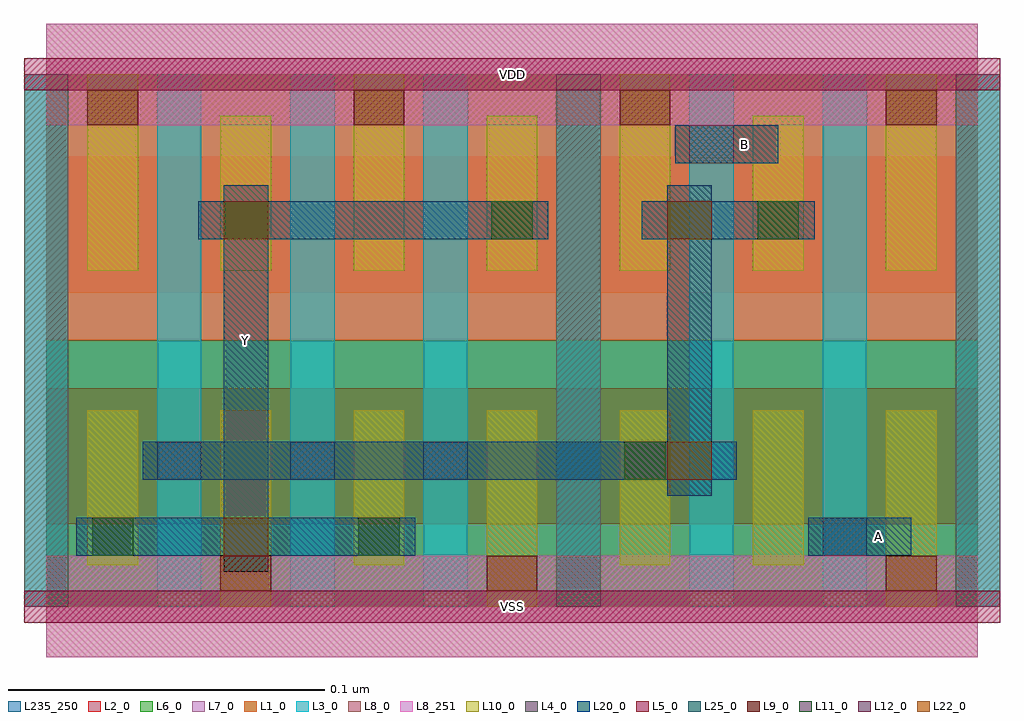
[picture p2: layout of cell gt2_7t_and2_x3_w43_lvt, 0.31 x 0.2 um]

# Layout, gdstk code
import gdstk
lib = gdstk.Library(unit=1e-6, precision=5e-10)
def R(c, l, rs):  # rectangles x0, y0, x1, y1
    for r in rs: c.add(gdstk.rectangle(r[:2], r[2:], *l))
def A(c, l, x, y, w, h, nx, ny, dx, dy):  # array of equal rectangles
    R(c, l, [(x+i*dx, y+j*dy, x+i*dx+w, y+j*dy+h) for i in range(nx) for j in range(ny)])
L1_0 = (1, 0)
L2_0 = (2, 0)
L3_0 = (3, 0)
L4_0 = (4, 0)
L5_0 = (5, 0)
L6_0 = (6, 0)
L7_0 = (7, 0)
L8_0 = (8, 0)
L8_251 = (8, 251)
L9_0 = (9, 0)
L10_0 = (10, 0)
L11_0 = (11, 0)
L12_0 = (12, 0)
L20_0 = (20, 0)
L22_0 = (22, 0)
L25_0 = (25, 0)
L235_250 = (235, 250)

gt2_7t_and2_x3_w43_lvt = lib.new_cell('gt2_7t_and2_x3_w43_lvt')
R(gt2_7t_and2_x3_w43_lvt, L1_0, [(0,0.084,0.294,0.168)])
R(gt2_7t_and2_x3_w43_lvt, L2_0, [(0,0.026,0.294,0.069), (0,0.099,0.294,0.142)])
A(gt2_7t_and2_x3_w43_lvt, L3_0, -0.007, 0, 0.014, 0.168, 8, 1, 0.042, 0)
R(gt2_7t_and2_x3_w43_lvt, L4_0, [(-0.007,0,0.007,0.168), (0.161,0,0.175,0.168), (0.287,0,0.301,0.168)])
R(gt2_7t_and2_x3_w43_lvt, L5_0, [(-0.007,-0.005,0.301,0.005), (-0.007,0.163,0.301,0.173)])
R(gt2_7t_and2_x3_w43_lvt, L6_0, [(0,0,0.294,0.084)])
R(gt2_7t_and2_x3_w43_lvt, L7_0, [(0,0.084,0.294,0.168)])
R(gt2_7t_and2_x3_w43_lvt, L8_0, [(0,-0.016,0.294,0.016), (0,0.152,0.294,0.184)])
R(gt2_7t_and2_x3_w43_lvt, L8_251, [(0,-0.016,0.294,0.016), (0,0.152,0.294,0.184)])
A(gt2_7t_and2_x3_w43_lvt, L9_0, 0.013, 0.152, 0.016, 0.011, 4, 1, 0.084, 0)
R(gt2_7t_and2_x3_w43_lvt, L9_0, [(0.055,0.005,0.071,0.016), (0.139,0.005,0.155,0.016), (0.265,0.005,0.281,0.016)])
A(gt2_7t_and2_x3_w43_lvt, L10_0, 0.013, 0.013, 0.016, 0.049, 3, 1, 0.084, 0)
A(gt2_7t_and2_x3_w43_lvt, L10_0, 0.013, 0.106, 0.016, 0.062, 4, 1, 0.084, 0)
A(gt2_7t_and2_x3_w43_lvt, L10_0, 0.055, 0.106, 0.016, 0.049, 3, 1, 0.084, 0)
R(gt2_7t_and2_x3_w43_lvt, L10_0, [(0.055,0,0.071,0.062), (0.139,0,0.155,0.062), (0.265,0,0.281,0.062), (0.223,0.013,0.239,0.062)])
A(gt2_7t_and2_x3_w43_lvt, L11_0, 0.0565, 0.116, 0.013, 0.012, 3, 1, 0.084, 0)
R(gt2_7t_and2_x3_w43_lvt, L11_0, [(0.0145,0.016,0.0275,0.028), (0.0985,0.016,0.1115,0.028), (0.1825,0.04,0.1955,0.052)])
A(gt2_7t_and2_x3_w43_lvt, L12_0, 0.035, 0.04, 0.014, 0.012, 3, 1, 0.042, 0)
R(gt2_7t_and2_x3_w43_lvt, L12_0, [(0.245,0.016,0.259,0.028), (0.203,0.14,0.217,0.152)])
R(gt2_7t_and2_x3_w43_lvt, L20_0, [(0.0095,0.016,0.1165,0.028), (0.2405,0.016,0.273,0.028), (0.0305,0.04,0.218,0.052), (0.048,0.116,0.1585,0.128), (0.188,0.116,0.2425,0.128), (0.1985,0.14,0.231,0.152)])
R(gt2_7t_and2_x3_w43_lvt, L22_0, [(0.056,0.016,0.07,0.028), (0.196,0.04,0.21,0.052), (0.056,0.116,0.07,0.128), (0.196,0.116,0.21,0.128)])
R(gt2_7t_and2_x3_w43_lvt, L25_0, [(0.056,0.011,0.07,0.133), (0.196,0.035,0.21,0.133)])
R(gt2_7t_and2_x3_w43_lvt, L235_250, [(0,0,0.294,0.168)])
gt2_7t_and2_x3_w43_lvt.add(gdstk.Label('VSS', (0.147,0), layer=8, texttype=251))
gt2_7t_and2_x3_w43_lvt.add(gdstk.Label('VDD', (0.147,0.168), layer=8, texttype=251))
gt2_7t_and2_x3_w43_lvt.add(gdstk.Label('B', (0.2205,0.146), layer=20, texttype=251))
gt2_7t_and2_x3_w43_lvt.add(gdstk.Label('A', (0.2625,0.022), layer=20, texttype=251))
gt2_7t_and2_x3_w43_lvt.add(gdstk.Label('Y', (0.063,0.084), layer=25, texttype=251))

lib.write_gds('gt2_7t_and2_x3_w43_lvt.gds')
